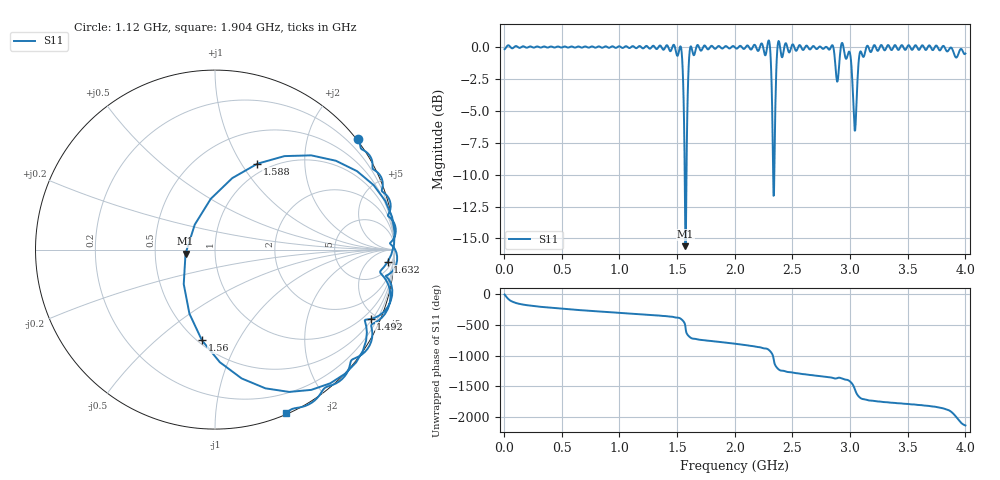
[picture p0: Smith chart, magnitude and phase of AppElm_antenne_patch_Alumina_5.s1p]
! TOUCHSTONE file generated by CST MICROWAVE STUDIO
! Date and time: Thu Jun  9 16:03:40 2022
! Project name: AppElm_antenne_patch_Alumina.cst
! Parameters = {L=30.5; W=41.8; e=0.035; h=1.6; lambda=0.190476; ls=85.5; w0=1.12; w1=0.373; ws=90; y0=14; y1=10}
! Header version: 2018
! Port assignment regex: !\s*Touchstone port\s*([0-9]+)\s*=\s*(CST MWS port|CST DS port)\s*([0-9]+|Zmin|Zmax)\s*\(\"(.*)\"\)(\s*mode\s*([0-9]+))?.*
! Touchstone port assignment:
! Touchstone port 1 = CST MWS port 1 ("")
# GHz S MA R 50
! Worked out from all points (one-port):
!   1000 points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, 4 MHz to 4 GHz, reference 50 ohm
!   lowest |S11| = -15.6 dB at 1.572 GHz (marker M1), VSWR 1.40, Z = 35.9 - j1.69 ohm
!   |S11| at or under -10 dB: 1.566 GHz to 1.581 GHz (15.21 MHz wide, 0.966 % of centre); 2.333168 GHz to 2.342721 GHz (9.553 MHz wide, 0.409 % of centre)
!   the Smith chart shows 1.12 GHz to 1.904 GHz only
!   S11 on the Smith chart (normalised r, x): 1.12 GHz: -0.03, +2.94; 1.492 GHz: 0.59, -4.62; 1.56 GHz: 0.53, -0.72; 1.588 GHz: 0.88, +1.18; 1.632 GHz: 11, -22; 1.904 GHz: 0.01, -1.53
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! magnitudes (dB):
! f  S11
! 4 MHz  -0.2
! 504 MHz  0.0
! 1.004 GHz  0.0
! 1.12 GHz  0.1
! 1.492 GHz  -0.5
! 1.504 GHz  -0.7
! 1.536 GHz  -0.1
! 1.56 GHz  -5.8
! 1.572 GHz  -15.6
! 1.588 GHz  -5.5
! 1.608 GHz  -0.4
! 1.632 GHz  -0.3
! 1.904 GHz  -0.1
! 2.004 GHz  -0.1
! 2.292 GHz  0.5
! 2.304 GHz  0.1
! 2.336 GHz  -11.7
! 2.348 GHz  -6.7
! 2.38 GHz  0.5
! 2.504 GHz  0.2
! 2.84 GHz  0.1
! 2.888 GHz  -2.7
! 2.936 GHz  0.3
! 3.004 GHz  -0.7
! 3.044 GHz  -6.5
! 3.096 GHz  -0.4
! 3.504 GHz  0.1
! 4 GHz  -0.5
